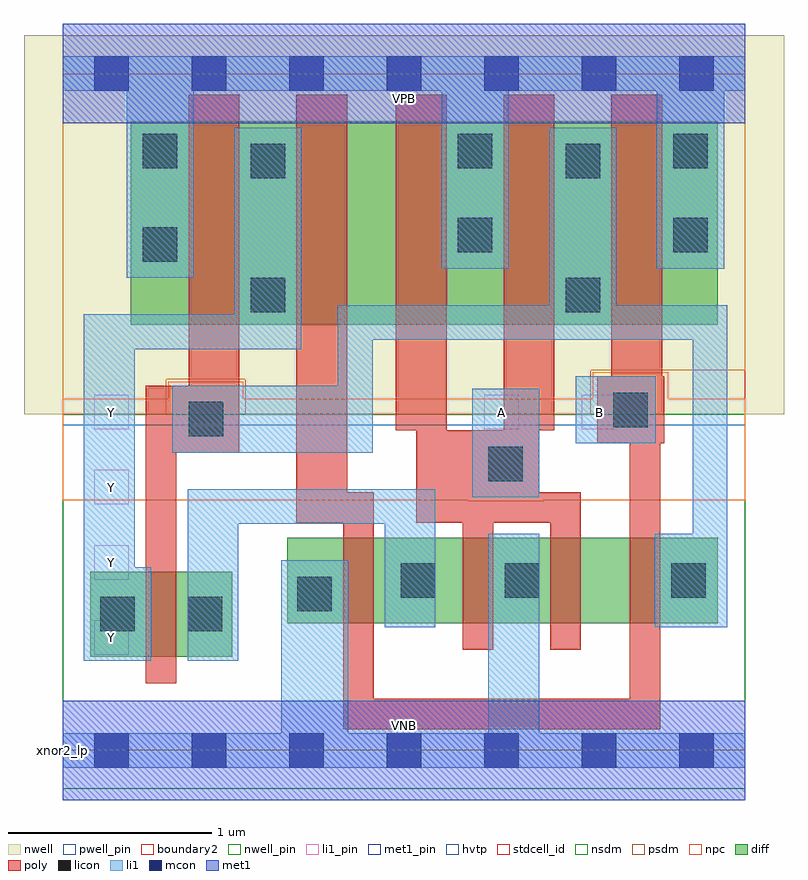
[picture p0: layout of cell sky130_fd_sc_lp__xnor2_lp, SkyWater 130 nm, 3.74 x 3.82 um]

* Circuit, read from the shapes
.subckt sky130_fd_sc_lp__xnor2_lp A B VGND VNB VPB VPWR Y
XM1 n1 n2 Y VNB sky130_fd_pr__nfet_01v8 w=0.42 l=0.15
XM2 n1 B VGND VNB sky130_fd_pr__nfet_01v8 w=0.42 l=0.15
XM3 VGND A n1 VNB sky130_fd_pr__nfet_01v8 w=0.42 l=0.15
XM4 n3 A VGND VNB sky130_fd_pr__nfet_01v8 w=0.42 l=0.15
XM5 n2 B n3 VNB sky130_fd_pr__nfet_01v8 w=0.42 l=0.15
XM6 Y n2 VPWR VPB sky130_fd_pr__pfet_01v8_hvt w=1 l=0.25
XM7 n4 B Y VPB sky130_fd_pr__pfet_01v8_hvt w=1 l=0.25
XM8 VPWR A n4 VPB sky130_fd_pr__pfet_01v8_hvt w=1 l=0.25
XM9 n2 A VPWR VPB sky130_fd_pr__pfet_01v8_hvt w=1 l=0.25
XM10 VPWR B n2 VPB sky130_fd_pr__pfet_01v8_hvt w=1 l=0.25
.ends

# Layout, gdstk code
import gdstk
lib = gdstk.Library(unit=1e-6, precision=1e-09)
def R(c, l, rs):  # rectangles x0, y0, x1, y1
    for r in rs: c.add(gdstk.rectangle(r[:2], r[2:], *l))
def A(c, l, x, y, w, h, nx, ny, dx, dy):  # array of equal rectangles
    R(c, l, [(x+i*dx, y+j*dy, x+i*dx+w, y+j*dy+h) for i in range(nx) for j in range(ny)])
def P(c, l, *ps):  # polygons
    for p in ps: c.add(gdstk.Polygon(p, *l))
nwell_pin = (64, 16)
nwell = (64, 20)
diff = (65, 20)
poly = (66, 20)
licon = (66, 44)
li1_pin = (67, 16)
li1 = (67, 20)
mcon = (67, 44)
met1_pin = (68, 16)
met1 = (68, 20)
hvtp = (78, 44)
stdcell_id = (81, 4)
nsdm = (93, 44)
psdm = (94, 20)
npc = (95, 20)
pwell_pin = (122, 16)
boundary2 = (236, 0)

sky130_fd_sc_lp__xnor2_l = lib.new_cell('sky130_fd_sc_lp__xnor2_lp')
R(sky130_fd_sc_lp__xnor2_l, nwell_pin, [(0,3.085,3.36,3.33)])
R(sky130_fd_sc_lp__xnor2_l, nwell, [(-0.19,1.655,3.55,3.52)])
R(sky130_fd_sc_lp__xnor2_l, diff, [(0.135,0.46,0.835,0.88), (1.105,0.625,3.225,1.045), (0.335,2.095,3.225,3.095)])
P(sky130_fd_sc_lp__xnor2_l, poly, [(0.87,3.225),(0.62,3.225),(0.62,1.795),(0.41,1.795),(0.41,0.33),(0.56,0.33),(0.56,1.465),(0.87,1.465)],
  [(2.55,1.27),(2.345,1.27),(2.345,1.575),(2.42,1.575),(2.42,3.225),(2.17,3.225),(2.17,1.575),(1.89,1.575),(1.89,3.225),(1.64,3.225),(1.64,1.575),(1.74,1.575),(1.74,1.12),(1.97,1.12),(1.97,0.495),(2.12,0.495),(2.12,1.12),(2.4,1.12),(2.4,0.495),(2.55,0.495)],
  [(2.96,1.84),(2.95,1.84),(2.95,3.225),(2.7,3.225),(2.7,1.84),(2.63,1.84),(2.63,1.51),(2.79,1.51),(2.79,0.255),(1.53,0.255),(1.53,1.27),(1.4,1.27),(1.4,3.225),(1.15,3.225),(1.15,1.12),(1.38,1.12),(1.38,0.105),(2.94,0.105),(2.94,1.51),(2.96,1.51)])
R(sky130_fd_sc_lp__xnor2_l, licon, [(0.185,0.585,0.355,0.755), (0.615,0.585,0.785,0.755), (1.155,0.685,1.325,0.855), (1.665,0.75,1.835,0.92), (2.175,0.75,2.345,0.92), (2.995,0.75,3.165,0.92), (2.095,1.325,2.265,1.495), (0.62,1.545,0.79,1.715), (2.71,1.59,2.88,1.76), (0.925,2.155,1.095,2.325), (2.475,2.155,2.645,2.325), (0.395,2.405,0.565,2.575), (1.945,2.45,2.115,2.62), (3.005,2.45,3.175,2.62), (0.925,2.815,1.095,2.985), (2.475,2.815,2.645,2.985), (0.395,2.865,0.565,3.035), (1.945,2.865,2.115,3.035), (3.005,2.865,3.175,3.035)])
A(sky130_fd_sc_lp__xnor2_l, li1_pin, 0.155, 0.47, 0.17, 0.17, 1, 4, 0, 0.37)
R(sky130_fd_sc_lp__xnor2_l, li1_pin, [(2.075,1.58,2.245,1.75), (2.555,1.58,2.725,1.75)])
R(sky130_fd_sc_lp__xnor2_l, li1, [(2.015,1.245,2.345,1.78), (2.525,1.51,2.92,1.84)])
P(sky130_fd_sc_lp__xnor2_l, li1, [(2.925,2.37),(2.925,3.245),(2.195,3.245),(2.195,2.37),(1.865,2.37),(1.865,3.245),(0.645,3.245),(0.645,2.325),(0.315,2.325),(0.315,3.245),(0,3.245),(0,3.415),(3.36,3.415),(3.36,3.245),(3.255,3.245),(3.255,2.37)],
  [(2.095,0.085),(2.095,1.065),(2.345,1.065),(2.345,0.085),(3.36,0.085),(3.36,-0.085),(0,-0.085),(0,0.085),(1.075,0.085),(1.075,0.935),(1.405,0.935),(1.405,0.085)],
  [(1.355,2.19),(2.395,2.19),(2.395,3.065),(2.725,3.065),(2.725,2.19),(3.27,2.19),(3.27,0.605),(2.915,0.605),(2.915,1.065),(3.1,1.065),(3.1,2.02),(1.525,2.02),(1.525,1.465),(0.54,1.465),(0.54,1.795),(1.355,1.795)],
  [(0.105,0.44),(0.105,2.145),(0.845,2.145),(0.845,3.065),(1.175,3.065),(1.175,1.975),(0.355,1.975),(0.355,0.9),(0.435,0.9),(0.435,0.44)],
  [(0.615,0.44),(0.615,1.285),(1.835,1.285),(1.835,0.605),(1.585,0.605),(1.585,1.115),(0.865,1.115),(0.865,0.44)])
A(sky130_fd_sc_lp__xnor2_l, mcon, 0.155, -0.085, 0.17, 0.17, 7, 2, 0.48, 3.33)
R(sky130_fd_sc_lp__xnor2_l, met1_pin, [(0,0,3.36,0.245), (0,3.085,3.36,3.33)])
R(sky130_fd_sc_lp__xnor2_l, met1, [(0,-0.245,3.36,0.245), (0,3.085,3.36,3.575)])
R(sky130_fd_sc_lp__xnor2_l, hvtp, [(0,1.6,3.36,3.33)])
R(sky130_fd_sc_lp__xnor2_l, stdcell_id, [(0,0,3.36,3.33)])
R(sky130_fd_sc_lp__xnor2_l, nsdm, [(0,-0.19,3.36,1.655)])
P(sky130_fd_sc_lp__xnor2_l, psdm, [(3.36,3.52),(0,3.52),(0,1.655),(0.51,1.655),(0.51,1.825),(0.9,1.825),(0.9,1.655),(2.6,1.655),(2.6,1.87),(3.36,1.87)])
P(sky130_fd_sc_lp__xnor2_l, npc, [(3.36,1.73),(2.98,1.73),(2.98,1.86),(2.61,1.86),(2.61,1.73),(0.89,1.73),(0.89,1.815),(0.52,1.815),(0.52,1.73),(0,1.73),(0,1.23),(1.995,1.23),(1.995,1.225),(2.365,1.225),(2.365,1.23),(3.36,1.23)])
R(sky130_fd_sc_lp__xnor2_l, pwell_pin, [(0,0,3.36,0.245)])
R(sky130_fd_sc_lp__xnor2_l, boundary2, [(0,0,3.36,3.33)])
sky130_fd_sc_lp__xnor2_l.add(gdstk.Label('VNB', (1.68,0.123), layer=64, texttype=59))
sky130_fd_sc_lp__xnor2_l.add(gdstk.Label('VPB', (1.68,3.208), layer=64, texttype=5))
sky130_fd_sc_lp__xnor2_l.add(gdstk.Label('xnor2_lp', (0,0), layer=83, texttype=44))
sky130_fd_sc_lp__xnor2_l.add(gdstk.Label('VPWR', (1.68,3.208), layer=68, texttype=5))
sky130_fd_sc_lp__xnor2_l.add(gdstk.Label('VGND', (1.68,0.123), layer=68, texttype=5))
sky130_fd_sc_lp__xnor2_l.add(gdstk.Label('A', (2.16,1.665), layer=67, texttype=5))
sky130_fd_sc_lp__xnor2_l.add(gdstk.Label('B', (2.64,1.665), layer=67, texttype=5))
sky130_fd_sc_lp__xnor2_l.add(gdstk.Label('Y', (0.24,0.555), layer=67, texttype=5))
sky130_fd_sc_lp__xnor2_l.add(gdstk.Label('Y', (0.24,0.925), layer=67, texttype=5))
sky130_fd_sc_lp__xnor2_l.add(gdstk.Label('Y', (0.24,1.295), layer=67, texttype=5))
sky130_fd_sc_lp__xnor2_l.add(gdstk.Label('Y', (0.24,1.665), layer=67, texttype=5))

lib.write_gds('sky130_fd_sc_lp__xnor2_lp.gds')
